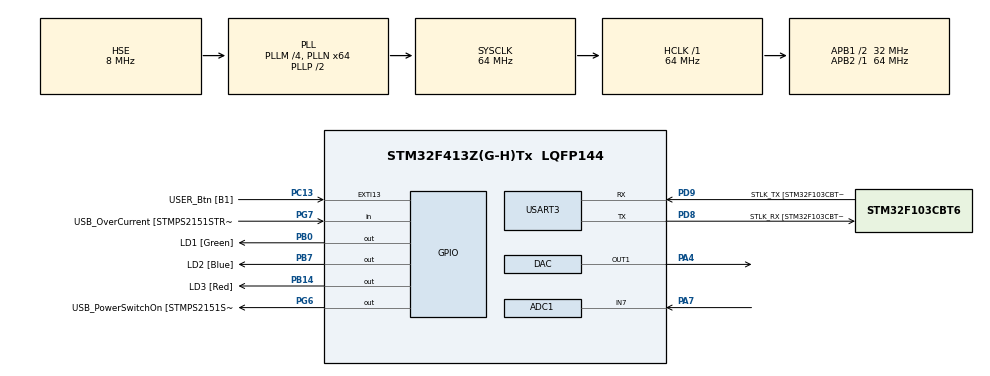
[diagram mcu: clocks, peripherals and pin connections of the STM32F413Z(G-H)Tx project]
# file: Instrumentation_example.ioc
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ADC1.Channel-1\#ChannelRegularConversion=ADC_CHANNEL_7
ADC1.ContinuousConvMode=ENABLE
ADC1.DMAContinuousRequests=ENABLE
ADC1.EOCSelection=ADC_EOC_SEQ_CONV
ADC1.ExternalTrigConv=ADC_EXTERNALTRIGCONV_T2_TRGO
ADC1.ExternalTrigConvEdge=ADC_EXTERNALTRIGCONVEDGE_FALLING
ADC1.NbrOfConversionFlag=1
ADC1.Rank-1\#ChannelRegularConversion=1
ADC1.SamplingTime-1\#ChannelRegularConversion=ADC_SAMPLETIME_3CYCLES
ADC1.ScanConvMode=ENABLE
ADC1.master=1
DAC.DAC_Trigger=DAC_TRIGGER_T2_TRGO
DAC.WaveGeneration=DISABLE
Dma.ADC1.1.Direction=DMA_PERIPH_TO_MEMORY
Dma.ADC1.1.FIFOMode=DMA_FIFOMODE_DISABLE
Dma.ADC1.1.Instance=DMA2_Stream0
Dma.ADC1.1.MemDataAlignment=DMA_MDATAALIGN_WORD
Dma.ADC1.1.MemInc=DMA_MINC_ENABLE
Dma.ADC1.1.Mode=DMA_NORMAL
Dma.ADC1.1.PeriphDataAlignment=DMA_PDATAALIGN_WORD
Dma.ADC1.1.PeriphInc=DMA_PINC_DISABLE
Dma.ADC1.1.Priority=DMA_PRIORITY_HIGH
Dma.DAC1.0.Direction=DMA_MEMORY_TO_PERIPH
Dma.DAC1.0.FIFOMode=DMA_FIFOMODE_DISABLE
Dma.DAC1.0.Instance=DMA1_Stream5
Dma.DAC1.0.MemDataAlignment=DMA_MDATAALIGN_WORD
Dma.DAC1.0.MemInc=DMA_MINC_ENABLE
Dma.DAC1.0.Mode=DMA_CIRCULAR
Dma.DAC1.0.PeriphDataAlignment=DMA_PDATAALIGN_WORD
Dma.DAC1.0.PeriphInc=DMA_PINC_DISABLE
Dma.DAC1.0.Priority=DMA_PRIORITY_HIGH
Dma.Request0=DAC1
Dma.Request1=ADC1
Mcu.Family=STM32F4
Mcu.Name=STM32F413Z(G-H)Tx
Mcu.Package=LQFP144
NVIC.ADC_IRQn=true\:2\:0\:true\:false\:true\:true\:true
NVIC.DMA1_Stream5_IRQn=true\:2\:0\:true\:false\:true\:false\:true
NVIC.DMA2_Stream0_IRQn=true\:0\:0\:false\:false\:true\:false\:true
NVIC.EXTI15_10_IRQn=true\:1\:0\:true\:false\:true\:true\:true
NVIC.PriorityGroup=NVIC_PRIORITYGROUP_4
NVIC.TIM2_IRQn=true\:0\:0\:false\:false\:true\:true\:true
PA10.GPIO_Label=USB_ID
PA10.Signal=USB_OTG_FS_ID
PA11.GPIO_Label=USB_DM
PA11.Signal=USB_OTG_FS_DM
PA12.GPIO_Label=USB_DP
PA12.Signal=USB_OTG_FS_DP
PA13.GPIO_Label=TMS
PA13.Mode=Serial_Wire
PA13.Signal=SYS_JTMS-SWDIO
PA14.GPIO_Label=TCK
PA14.Mode=Serial_Wire
PA14.Signal=SYS_JTCK-SWCLK
PA4.Signal=COMP_DAC1_group
PA7.Signal=ADCx_IN7
PA8.GPIO_Label=USB_SOF [TP1]
PA8.Signal=USB_OTG_FS_SOF
PA9.GPIO_Label=USB_VBUS
PA9.Signal=USB_OTG_FS_VBUS
PB0.GPIO_Label=LD1 [Green]
PB0.Signal=GPIO_Output
PB14.GPIO_Label=LD3 [Red]
PB14.Signal=GPIO_Output
PB3.GPIO_Label=SWO
PB3.Signal=SYS_JTDO-SWO
PB7.GPIO_Label=LD2 [Blue]
PB7.Signal=GPIO_Output
PC13.GPIO_Label=USER_Btn [B1]
PC13.Signal=GPXTI13
PC14-OSC32_IN.Mode=LSE-External-Oscillator
PC14-OSC32_IN.Signal=RCC_OSC32_IN
PC15-OSC32_OUT.Mode=LSE-External-Oscillator
PC15-OSC32_OUT.Signal=RCC_OSC32_OUT
PD14.Signal=S_TIM4_CH3
PD8.GPIO_Label=STLK_RX [STM32F103CBT6_PA3]
PD8.Mode=Asynchronous
PD8.Signal=USART3_TX
PD9.GPIO_Label=STLK_TX [STM32F103CBT6_PA2]
PD9.Mode=Asynchronous
PD9.Signal=USART3_RX
PG6.GPIO_Label=USB_PowerSwitchOn [STMPS2151STR_EN]
PG6.Signal=GPIO_Output
PG7.GPIO_Label=USB_OverCurrent [STMPS2151STR_FAULT]
PG7.Signal=GPIO_Input
PH0\ -\ OSC_IN.GPIO_Label=MCO
PH0\ -\ OSC_IN.Mode=HSE-External-Clock-Source
PH0\ -\ OSC_IN.Signal=RCC_OSC_IN
PH1\ -\ OSC_OUT.Mode=HSE-External-Clock-Source
PH1\ -\ OSC_OUT.Signal=RCC_OSC_OUT
ProjectManager.HeapSize=0x200
ProjectManager.StackSize=0x400
ProjectManager.TargetToolchain=STM32CubeIDE
RCC.48MHZClocksFreq_Value=24000000
RCC.AHBFreq_Value=64000000
RCC.APB1CLKDivider=RCC_HCLK_DIV2
RCC.APB1Freq_Value=32000000
RCC.APB1TimFreq_Value=64000000
RCC.APB2Freq_Value=64000000
RCC.APB2TimFreq_Value=64000000
RCC.CortexFreq_Value=64000000
RCC.HCLKFreq_Value=64000000
RCC.HSE_VALUE=8000000
RCC.HSI_VALUE=16000000
RCC.PLLM=4
RCC.PLLMUL=RCC_PLL_MUL9
RCC.PLLN=64
RCC.PLLQ=7
RCC.PLLSourceVirtual=RCC_PLLSOURCE_HSE
RCC.PRESCALERUSB=RCC_USBCLKSOURCE_PLL_DIV1_5
RCC.SYSCLKFreq_VALUE=64000000
RCC.SYSCLKSource=RCC_SYSCLKSOURCE_PLLCLK
RCC.SYSCLKSourceVirtual=RCC_SYSCLKSOURCE_PLLCLK
RCC.USBCLockSelection=RCC_CLK48CLKSOURCE_PLLI2SQ
RCC.USBFreq_Value=48000000
RCC.VCOOutputFreq_Value=128000000
SH.ADCx_IN7.0=ADC1_IN7,IN7
SH.COMP_DAC1_group.0=DAC_OUT1,DAC_OUT1
SH.S_TIM4_CH3.0=TIM4_CH3
TIM2.AutoReloadPreload=TIM_AUTORELOAD_PRELOAD_ENABLE
TIM2.Period=124
TIM2.TIM_MasterOutputTrigger=TIM_TRGO_UPDATE
USART3.VirtualMode=VM_ASYNC
VP_TIM2_VS_ClockSourceINT.Mode=Internal
board=NUCLEO-F413ZH

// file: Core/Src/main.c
/* USER CODE BEGIN Header */
/**
  ******************************************************************************
  * @file           : main.c
  * @brief          : Main program body
  ******************************************************************************
  * @attention
  *
  * Copyright (c) 2022 STMicroelectronics.
  * All rights reserved.
  *
  * This software is licensed under terms that can be found in the LICENSE file
  * in the root directory of this software component.
  * If no LICENSE file comes with this software, it is provided AS-IS.
  *
  ******************************************************************************
  */
/* USER CODE END Header */
#include "main.h"

/* USER CODE BEGIN Includes */
#include <stdio.h>
#include <string.h>
#include "arm_math.h"
#include "arm_const_structs.h"
/* USER CODE END Includes */

/* USER CODE BEGIN PD */
#define DAC_SAMPLE_SIZE		512
#define ADC_SAMPLE_SIZE		4096
#define FFT_SAMPLE_SIZE		2048
#define ADC_SCALING				0.0008056640508584678173065185546875
/* USER CODE END PD */

ADC_HandleTypeDef hadc1;
DMA_HandleTypeDef hdma_adc1;

DAC_HandleTypeDef hdac;
DMA_HandleTypeDef hdma_dac1;

TIM_HandleTypeDef htim2;

UART_HandleTypeDef huart3;

/* USER CODE BEGIN PV */
extern uint32_t sineData[DAC_SAMPLE_SIZE];
uint32_t adcData[ADC_SAMPLE_SIZE]={0,};
float32_t adcFloat[ADC_SAMPLE_SIZE];
float32_t adcFFT[ADC_SAMPLE_SIZE];
float32_t testOutput[FFT_SAMPLE_SIZE];
uint8_t btnPressed = 0;
uint8_t adcTransfer = 0;
arm_status status = ARM_MATH_SUCCESS;
float32_t maxValue = 0;
uint32_t testIndex = 0;
uint32_t fftSize = 1024;
uint32_t ifftFlag = 0;
arm_rfft_fast_instance_f32 fS;
char UART_BUF[1024];
uint16_t UART_size = 0;
/* USER CODE END PV */

void SystemClock_Config(void);
static void MX_GPIO_Init(void);
static void MX_DMA_Init(void);
static void MX_DAC_Init(void);
static void MX_USART3_UART_Init(void);
static void MX_ADC1_Init(void);
static void MX_TIM2_Init(void);

int main(void)
{

  /* MCU Configuration--------------------------------------------------------*/

  /* Reset of all peripherals, Initializes the Flash interface and the Systick. */
  HAL_Init();

  /* Configure the system clock */
  SystemClock_Config();

  /* Initialize all configured peripherals */
  MX_GPIO_Init();
  MX_DMA_Init();
  MX_DAC_Init();
  MX_USART3_UART_Init();
  MX_ADC1_Init();
  MX_TIM2_Init();
  /* USER CODE BEGIN 2 */
  HAL_DAC_Start_DMA(&hdac, DAC_CHANNEL_1, (uint32_t*)sineData, DAC_SAMPLE_SIZE, DAC_ALIGN_12B_R);
  HAL_TIM_Base_Start(&htim2);
  /* USER CODE END 2 */

  /* Infinite loop */
  while (1)
  {

    /* USER CODE BEGIN 3 */
  	if (adcTransfer == 1)
  	{
  	  status = ARM_MATH_SUCCESS;
  	  MX_USART3_UART_Init();

  	  /* Convert the data from 12-bit resolution to voltage */
  	  for (int i = 0; i < ADC_SAMPLE_SIZE; i++)
  	  {
  	  	adcFloat[i] = adcData[i] * ADC_SCALING;
  	  }

  	  arm_rfft_fast_init_f32(&fS, ADC_SAMPLE_SIZE);

  	  /* Process the data through the RFFT module */
  	  arm_rfft_fast_f32(&fS, adcFloat, adcFFT, ifftFlag);

  	  /* Process the data through the Complex Magnitude Module for
  	  calculating the magnitude at each bin */
  	  arm_cmplx_mag_f32(adcFFT, testOutput, FFT_SAMPLE_SIZE);

  	  /* Transfer data to computer for validation */
  	  for (int i = 0; i < ADC_SAMPLE_SIZE; i++)
  	  {
  	  	UART_size = sprintf(UART_BUF,"%ld,",adcData[i]);
  	  	HAL_UART_Transmit(&huart3, (uint8_t *)UART_BUF, UART_size, HAL_MAX_DELAY);
  	  }
  	  UART_size = sprintf(UART_BUF,"\n,");
	  	HAL_UART_Transmit(&huart3, (uint8_t *)UART_BUF, UART_size, HAL_MAX_DELAY);
  	  for (int i = 0; i < FFT_SAMPLE_SIZE; i++)
  	  {
  	  	UART_size = sprintf(UART_BUF,"%f,",testOutput[i]);
  	  	HAL_UART_Transmit(&huart3, (uint8_t *)UART_BUF, UART_size, HAL_MAX_DELAY);
  	  }

  	  /* Remove DC component from FFT output */
  	  testOutput[0] = 0;

  	  /* Calculates maxValue and returns corresponding BIN value */
  	  arm_max_f32(testOutput, FFT_SAMPLE_SIZE, &maxValue, &testIndex);

  	  adcTransfer = 0;
  	}
  }
  /* USER CODE END 3 */
}

void SystemClock_Config(void)
{
  RCC_OscInitTypeDef RCC_OscInitStruct = {0};
  RCC_ClkInitTypeDef RCC_ClkInitStruct = {0};

  /** Configure the main internal regulator output voltage
  */
  __HAL_RCC_PWR_CLK_ENABLE();
  __HAL_PWR_VOLTAGESCALING_CONFIG(PWR_REGULATOR_VOLTAGE_SCALE1);
  /** Initializes the RCC Oscillators according to the specified parameters
  * in the RCC_OscInitTypeDef structure.
  */
  RCC_OscInitStruct.OscillatorType = RCC_OSCILLATORTYPE_HSE;
  RCC_OscInitStruct.HSEState = RCC_HSE_BYPASS;
  RCC_OscInitStruct.PLL.PLLState = RCC_PLL_ON;
  RCC_OscInitStruct.PLL.PLLSource = RCC_PLLSOURCE_HSE;
  RCC_OscInitStruct.PLL.PLLM = 4;
  RCC_OscInitStruct.PLL.PLLN = 64;
  RCC_OscInitStruct.PLL.PLLP = RCC_PLLP_DIV2;
  RCC_OscInitStruct.PLL.PLLQ = 7;
  RCC_OscInitStruct.PLL.PLLR = 2;
  if (HAL_RCC_OscConfig(&RCC_OscInitStruct) != HAL_OK)
  {
    Error_Handler();
  }
  /** Initializes the CPU, AHB and APB buses clocks
  */
  RCC_ClkInitStruct.ClockType = RCC_CLOCKTYPE_HCLK|RCC_CLOCKTYPE_SYSCLK
                              |RCC_CLOCKTYPE_PCLK1|RCC_CLOCKTYPE_PCLK2;
  RCC_ClkInitStruct.SYSCLKSource = RCC_SYSCLKSOURCE_PLLCLK;
  RCC_ClkInitStruct.AHBCLKDivider = RCC_SYSCLK_DIV1;
  RCC_ClkInitStruct.APB1CLKDivider = RCC_HCLK_DIV2;
  RCC_ClkInitStruct.APB2CLKDivider = RCC_HCLK_DIV1;

  if (HAL_RCC_ClockConfig(&RCC_ClkInitStruct, FLASH_LATENCY_2) != HAL_OK)
  {
    Error_Handler();
  }
}

static void MX_ADC1_Init(void)
{

  ADC_ChannelConfTypeDef sConfig = {0};

  /** Configure the global features of the ADC (Clock, Resolution, Data Alignment and number of conversion)
  */
  hadc1.Instance = ADC1;
  hadc1.Init.ClockPrescaler = ADC_CLOCK_SYNC_PCLK_DIV2;
  hadc1.Init.Resolution = ADC_RESOLUTION_12B;
  hadc1.Init.ScanConvMode = ENABLE;
  hadc1.Init.ContinuousConvMode = ENABLE;
  hadc1.Init.DiscontinuousConvMode = DISABLE;
  hadc1.Init.ExternalTrigConvEdge = ADC_EXTERNALTRIGCONVEDGE_FALLING;
  hadc1.Init.ExternalTrigConv = ADC_EXTERNALTRIGCONV_T2_TRGO;
  hadc1.Init.DataAlign = ADC_DATAALIGN_RIGHT;
  hadc1.Init.NbrOfConversion = 1;
  hadc1.Init.DMAContinuousRequests = ENABLE;
  hadc1.Init.EOCSelection = ADC_EOC_SEQ_CONV;
  if (HAL_ADC_Init(&hadc1) != HAL_OK)
  {
    Error_Handler();
  }
  /** Configure for the selected ADC regular channel its corresponding rank in the sequencer and its sample time.
  */
  sConfig.Channel = ADC_CHANNEL_7;
  sConfig.Rank = 1;
  sConfig.SamplingTime = ADC_SAMPLETIME_3CYCLES;
  if (HAL_ADC_ConfigChannel(&hadc1, &sConfig) != HAL_OK)
  {
    Error_Handler();
  }

}

static void MX_DAC_Init(void)
{

  DAC_ChannelConfTypeDef sConfig = {0};

  /** DAC Initialization
  */
  hdac.Instance = DAC;
  if (HAL_DAC_Init(&hdac) != HAL_OK)
  {
    Error_Handler();
  }
  /** DAC channel OUT1 config
  */
  sConfig.DAC_Trigger = DAC_TRIGGER_T2_TRGO;
  sConfig.DAC_OutputBuffer = DAC_OUTPUTBUFFER_ENABLE;
  if (HAL_DAC_ConfigChannel(&hdac, &sConfig, DAC_CHANNEL_1) != HAL_OK)
  {
    Error_Handler();
  }

}

static void MX_TIM2_Init(void)
{

  TIM_ClockConfigTypeDef sClockSourceConfig = {0};
  TIM_MasterConfigTypeDef sMasterConfig = {0};

  htim2.Instance = TIM2;
  htim2.Init.Prescaler = 0;
  htim2.Init.CounterMode = TIM_COUNTERMODE_UP;
  htim2.Init.Period = 124;
  htim2.Init.ClockDivision = TIM_CLOCKDIVISION_DIV1;
  htim2.Init.AutoReloadPreload = TIM_AUTORELOAD_PRELOAD_ENABLE;
  if (HAL_TIM_Base_Init(&htim2) != HAL_OK)
  {
    Error_Handler();
  }
  sClockSourceConfig.ClockSource = TIM_CLOCKSOURCE_INTERNAL;
  if (HAL_TIM_ConfigClockSource(&htim2, &sClockSourceConfig) != HAL_OK)
  {
    Error_Handler();
  }
  sMasterConfig.MasterOutputTrigger = TIM_TRGO_UPDATE;
  sMasterConfig.MasterSlaveMode = TIM_MASTERSLAVEMODE_DISABLE;
  if (HAL_TIMEx_MasterConfigSynchronization(&htim2, &sMasterConfig) != HAL_OK)
  {
    Error_Handler();
  }

}

static void MX_USART3_UART_Init(void)
{

  huart3.Instance = USART3;
  huart3.Init.BaudRate = 115200;
  huart3.Init.WordLength = UART_WORDLENGTH_8B;
  huart3.Init.StopBits = UART_STOPBITS_1;
  huart3.Init.Parity = UART_PARITY_NONE;
  huart3.Init.Mode = UART_MODE_TX_RX;
  huart3.Init.HwFlowCtl = UART_HWCONTROL_NONE;
  huart3.Init.OverSampling = UART_OVERSAMPLING_16;
  if (HAL_UART_Init(&huart3) != HAL_OK)
  {
    Error_Handler();
  }

}

static void MX_DMA_Init(void)
{

  /* DMA controller clock enable */
  __HAL_RCC_DMA1_CLK_ENABLE();
  __HAL_RCC_DMA2_CLK_ENABLE();

  /* DMA interrupt init */
  /* DMA1_Stream5_IRQn interrupt configuration */
  HAL_NVIC_SetPriority(DMA1_Stream5_IRQn, 2, 0);
  HAL_NVIC_EnableIRQ(DMA1_Stream5_IRQn);
  /* DMA2_Stream0_IRQn interrupt configuration */
  HAL_NVIC_SetPriority(DMA2_Stream0_IRQn, 0, 0);
  HAL_NVIC_EnableIRQ(DMA2_Stream0_IRQn);

}

static void MX_GPIO_Init(void)
{
  GPIO_InitTypeDef GPIO_InitStruct = {0};

  /* GPIO Ports Clock Enable */
  __HAL_RCC_GPIOC_CLK_ENABLE();
  __HAL_RCC_GPIOH_CLK_ENABLE();
  __HAL_RCC_GPIOA_CLK_ENABLE();
  __HAL_RCC_GPIOB_CLK_ENABLE();
  __HAL_RCC_GPIOD_CLK_ENABLE();
  __HAL_RCC_GPIOG_CLK_ENABLE();

  /*Configure GPIO pin Output Level */
  HAL_GPIO_WritePin(GPIOB, LD1_Pin|LD3_Pin|LD2_Pin, GPIO_PIN_RESET);

  /*Configure GPIO pin Output Level */
  HAL_GPIO_WritePin(USB_PowerSwitchOn_GPIO_Port, USB_PowerSwitchOn_Pin, GPIO_PIN_RESET);

  /*Configure GPIO pin : USER_Btn_Pin */
  GPIO_InitStruct.Pin = USER_Btn_Pin;
  GPIO_InitStruct.Mode = GPIO_MODE_IT_RISING;
  GPIO_InitStruct.Pull = GPIO_NOPULL;
  HAL_GPIO_Init(USER_Btn_GPIO_Port, &GPIO_InitStruct);

  /*Configure GPIO pins : LD1_Pin LD3_Pin LD2_Pin */
  GPIO_InitStruct.Pin = LD1_Pin|LD3_Pin|LD2_Pin;
  GPIO_InitStruct.Mode = GPIO_MODE_OUTPUT_PP;
  GPIO_InitStruct.Pull = GPIO_NOPULL;
  GPIO_InitStruct.Speed = GPIO_SPEED_FREQ_LOW;
  HAL_GPIO_Init(GPIOB, &GPIO_InitStruct);

  /*Configure GPIO pin : PD14 */
  GPIO_InitStruct.Pin = GPIO_PIN_14;
  GPIO_InitStruct.Mode = GPIO_MODE_AF_PP;
  GPIO_InitStruct.Pull = GPIO_NOPULL;
  GPIO_InitStruct.Speed = GPIO_SPEED_FREQ_LOW;
  GPIO_InitStruct.Alternate = GPIO_AF2_TIM4;
  HAL_GPIO_Init(GPIOD, &GPIO_InitStruct);

  /*Configure GPIO pin : USB_PowerSwitchOn_Pin */
  GPIO_InitStruct.Pin = USB_PowerSwitchOn_Pin;
  GPIO_InitStruct.Mode = GPIO_MODE_OUTPUT_PP;
  GPIO_InitStruct.Pull = GPIO_NOPULL;
  GPIO_InitStruct.Speed = GPIO_SPEED_FREQ_LOW;
  HAL_GPIO_Init(USB_PowerSwitchOn_GPIO_Port, &GPIO_InitStruct);

  /*Configure GPIO pin : USB_OverCurrent_Pin */
  GPIO_InitStruct.Pin = USB_OverCurrent_Pin;
  GPIO_InitStruct.Mode = GPIO_MODE_INPUT;
  GPIO_InitStruct.Pull = GPIO_NOPULL;
  HAL_GPIO_Init(USB_OverCurrent_GPIO_Port, &GPIO_InitStruct);

  /*Configure GPIO pins : USB_SOF_Pin USB_ID_Pin USB_DM_Pin USB_DP_Pin */
  GPIO_InitStruct.Pin = USB_SOF_Pin|USB_ID_Pin|USB_DM_Pin|USB_DP_Pin;
  GPIO_InitStruct.Mode = GPIO_MODE_AF_PP;
  GPIO_InitStruct.Pull = GPIO_NOPULL;
  GPIO_InitStruct.Speed = GPIO_SPEED_FREQ_VERY_HIGH;
  GPIO_InitStruct.Alternate = GPIO_AF10_OTG_FS;
  HAL_GPIO_Init(GPIOA, &GPIO_InitStruct);

  /* EXTI interrupt init*/
  HAL_NVIC_SetPriority(EXTI15_10_IRQn, 1, 0);
  HAL_NVIC_EnableIRQ(EXTI15_10_IRQn);

}

/* USER CODE BEGIN 4 */
/**
  * @brief EXTI line detection callbacks
  * @param GPIO_Pin: Specifies the pins connected EXTI line
  * @retval None
  */
void HAL_GPIO_EXTI_Callback(uint16_t GPIO_Pin)
{
  /* Change the wave */
	btnPressed = 1;
	HAL_ADC_Start_DMA(&hadc1, (uint32_t*)adcData, ADC_SAMPLE_SIZE);
}

/**
  * @brief  Conversion complete callback in non blocking mode
  * @param  AdcHandle : AdcHandle handle
  * @note   This example shows a simple way to report end of conversion, and
  *         you can add your own implementation.
  * @retval None
  */
void HAL_ADC_ConvCpltCallback(ADC_HandleTypeDef* AdcHandle)
{
  /* ADC DMA Conversion Complete */
	adcTransfer = 1;
}
/* USER CODE END 4 */

void Error_Handler(void)
{
  __disable_irq();
  while (1)
  {
  }
}
